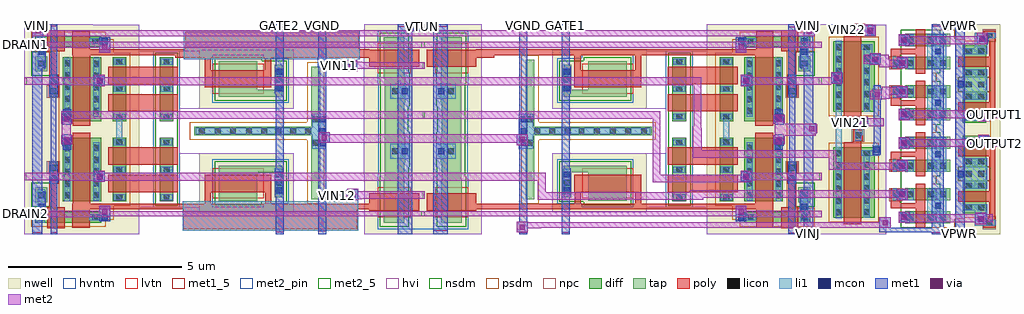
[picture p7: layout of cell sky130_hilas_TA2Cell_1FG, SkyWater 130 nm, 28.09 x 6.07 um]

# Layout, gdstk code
from math import pi, radians
import gdstk
lib = gdstk.Library(unit=1e-6, precision=1e-09)
def R(c, l, rs):  # rectangles x0, y0, x1, y1
    for r in rs: c.add(gdstk.rectangle(r[:2], r[2:], *l))
def A(c, l, x, y, w, h, nx, ny, dx, dy):  # array of equal rectangles
    R(c, l, [(x+i*dx, y+j*dy, x+i*dx+w, y+j*dy+h) for i in range(nx) for j in range(ny)])
nwell = (64, 20)
diff = (65, 20)
tap = (65, 44)
poly = (66, 20)
licon = (66, 44)
li1 = (67, 20)
mcon = (67, 44)
met1_5 = (68, 5)
met1 = (68, 20)
via = (68, 44)
met2_5 = (69, 5)
met2_pin = (69, 16)
met2 = (69, 20)
hvi = (75, 20)
nsdm = (93, 44)
psdm = (94, 20)
npc = (95, 20)
hvntm = (125, 20)
lvtn = (125, 44)

sky130_hilas_li2m2 = lib.new_cell('sky130_hilas_li2m2')
R(sky130_hilas_li2m2, li1, [(-0.13,-0.12,0.19,-0.09), (-0.13,-0.09,0.2,0.1), (-0.13,0.1,0.19,0.14)])
R(sky130_hilas_li2m2, mcon, [(-0.07,-0.08,0.1,0.09)])
R(sky130_hilas_li2m2, met1, [(-0.14,-0.15,0.18,0.17)])
R(sky130_hilas_li2m2, via, [(-0.055,-0.065,0.095,0.085)])
R(sky130_hilas_li2m2, met2, [(-0.14,-0.15,0.17,0.18)])

sky130_hilas_li2m1 = lib.new_cell('sky130_hilas_li2m1')
R(sky130_hilas_li2m1, li1, [(-0.08,-0.05,0.11,0.18)])
R(sky130_hilas_li2m1, mcon, [(-0.07,-0.02,0.1,0.15)])
R(sky130_hilas_li2m1, met1, [(-0.1,-0.08,0.13,0.21)])

sky130_hilas_nfet03 = lib.new_cell('sky130_hilas_nFET03')
R(sky130_hilas_nfet03, diff, [(-0.31,-0.06,0.58,0.29)])
R(sky130_hilas_nfet03, poly, [(0,-0.19,0.27,0.42)])
R(sky130_hilas_nfet03, licon, [(-0.245,0.03,-0.075,0.2), (0.345,0.03,0.515,0.2)])
R(sky130_hilas_nfet03, li1, [(-0.26,-0.05,-0.06,0.28), (0.33,-0.05,0.53,0.28)])
R(sky130_hilas_nfet03, nsdm, [(-0.435,-0.185,0.705,0.415)])

sky130_hilas_poly2li = lib.new_cell('sky130_hilas_poly2li')
R(sky130_hilas_poly2li, poly, [(-0.09,-0.14,0.18,0.19)])
R(sky130_hilas_poly2li, licon, [(-0.04,-0.06,0.13,0.11)])
R(sky130_hilas_poly2li, li1, [(-0.04,-0.14,0.13,0.19)])
R(sky130_hilas_poly2li, npc, [(-0.14,-0.16,0.23,0.21)])

sky130_hilas_nmirror03 = lib.new_cell('sky130_hilas_nMirror03')
R(sky130_hilas_nmirror03, tap, [(0.84,0.08,1.25,0.43), (0.84,0.74,1.25,1.09)])
R(sky130_hilas_nmirror03, poly, [(-0.46,0.43,-0.19,0.51), (-0.46,0.51,0.26,0.56), (-0.46,0.56,0.53,0.66)])
R(sky130_hilas_nmirror03, licon, [(0.96,0.17,1.13,0.34), (0.96,0.83,1.13,1)])
R(sky130_hilas_nmirror03, li1, [(0.79,0.09,1.14,0.42), (0.59,0.42,1.14,0.75), (0.59,0.75,0.78,0.76), (0.79,0.75,1.14,1.08)])
R(sky130_hilas_nmirror03, met2, [(-0.59,0.14,-0.26,0.35)])
R(sky130_hilas_nmirror03, nsdm, [(-0.175,0.555,0.84,0.615)])
R(sky130_hilas_nmirror03, psdm, [(0.715,-0.045,1.375,1.215)])
sky130_hilas_nmirror03.add(gdstk.Reference(sky130_hilas_li2m1, (0.88,0.52)))
sky130_hilas_nmirror03.add(gdstk.Reference(sky130_hilas_nfet03, (0.26,0.14)))
sky130_hilas_nmirror03.add(gdstk.Reference(sky130_hilas_li2m2, (-0.15,0.25)))
sky130_hilas_nmirror03.add(gdstk.Reference(sky130_hilas_poly2li, (-0.37,0.24)))
sky130_hilas_nmirror03.add(gdstk.Reference(sky130_hilas_li2m2, (-0.1,0.9)))
sky130_hilas_nmirror03.add(gdstk.Reference(sky130_hilas_nfet03, (0.26,0.8)))

sky130_hilas_pfetmirror0 = lib.new_cell('sky130_hilas_pFETmirror02')
R(sky130_hilas_pfetmirror0, nwell, [(-0.61,0.89,0.67,3.73)])
R(sky130_hilas_pfetmirror0, diff, [(-0.4,1.31,0.28,2.24), (-0.4,2.65,0.28,3.54)])
R(sky130_hilas_pfetmirror0, tap, [(-0.4,2.24,0.28,2.65)])
R(sky130_hilas_pfetmirror0, poly, [(0.36,1.12,0.53,1.64), (-0.53,1.64,0.53,1.94), (0.36,1.94,0.53,2.95), (-0.53,2.95,0.53,3.25)])
R(sky130_hilas_pfetmirror0, licon, [(-0.315,1.4,-0.145,1.57), (0.045,1.4,0.215,1.57), (-0.315,2.01,-0.145,2.18), (0.045,2.01,0.215,2.18), (-0.315,2.36,-0.145,2.53), (0.045,2.36,0.215,2.53), (-0.32,2.715,-0.15,2.885), (0.045,2.715,0.215,2.885), (-0.325,3.315,-0.155,3.485), (0.035,3.315,0.205,3.485)])
R(sky130_hilas_pfetmirror0, li1, [(-0.05,0.95,0.28,1.12), (-0.05,1.12,0.31,1.4), (-0.4,1.4,0.31,1.57), (-0.4,2.01,0.3,2.89), (-0.41,3.31,0.29,3.49)])
R(sky130_hilas_pfetmirror0, nsdm, [(-0.525,2.24,0.405,2.65)])
R(sky130_hilas_pfetmirror0, psdm, [(-0.525,1.185,0.405,2.24), (-0.525,2.65,0.405,3.665)])
sky130_hilas_pfetmirror0.add(gdstk.Reference(sky130_hilas_poly2li, (0.34,1.08), rotation=3*pi/2))

sky130_hilas_dualtacore0 = lib.new_cell('sky130_hilas_DualTACore01')
R(sky130_hilas_dualtacore0, met1, [(-0.41,-0.22,-0.07,5.5), (0.26,-0.21,0.53,5.49)])
R(sky130_hilas_dualtacore0, met2_pin, [(1.44,2.93,1.55,3.16)])
R(sky130_hilas_dualtacore0, met2, [(-1.37,-0.06,1.34,0.17), (-1.36,2.11,1.55,2.33), (-1.1,2.93,1.55,3.16), (-1.36,5.07,1.18,5.3)])
A(sky130_hilas_dualtacore0, nsdm, -1.305, 1.045, 1.015, 0.22, 1, 3, 0, 1.48)
R(sky130_hilas_dualtacore0, psdm, [(0.245,0.04,0.515,0.075), (0.245,0.075,0.355,1.045), (-0.29,1.045,0.355,1.265), (0.245,1.265,0.355,2.525), (-0.29,2.525,0.355,2.555), (-0.29,2.555,1.285,2.685), (-0.29,2.685,0.355,2.745), (0.245,2.745,0.355,4.005), (-0.29,4.005,0.355,4.225), (0.245,4.225,0.355,5.165), (0.245,5.165,0.545,5.215)])
sky130_hilas_dualtacore0.add(gdstk.Reference(sky130_hilas_li2m2, (1.06,2.28)))
sky130_hilas_dualtacore0.add(gdstk.Reference(sky130_hilas_nmirror03, (-1.13,1.31)))
sky130_hilas_dualtacore0.add(gdstk.Reference(sky130_hilas_nmirror03, (-1.13,1), x_reflection=True))
sky130_hilas_dualtacore0.add(gdstk.Reference(sky130_hilas_li2m1, (0.41,1.26)))
sky130_hilas_dualtacore0.add(gdstk.Reference(sky130_hilas_li2m2, (0.98,0.03)))
sky130_hilas_dualtacore0.add(gdstk.Reference(sky130_hilas_pfetmirror0, (0.88,-1.11)))
sky130_hilas_dualtacore0.add(gdstk.Reference(sky130_hilas_pfetmirror0, (0.88,6.35), x_reflection=True))
sky130_hilas_dualtacore0.add(gdstk.Reference(sky130_hilas_li2m2, (1.07,3)))
sky130_hilas_dualtacore0.add(gdstk.Reference(sky130_hilas_nmirror03, (-1.13,4.27)))
sky130_hilas_dualtacore0.add(gdstk.Reference(sky130_hilas_nmirror03, (-1.13,3.96), x_reflection=True))
sky130_hilas_dualtacore0.add(gdstk.Reference(sky130_hilas_li2m1, (0.41,3.85)))
sky130_hilas_dualtacore0.add(gdstk.Reference(sky130_hilas_li2m2, (1.02,5.22)))
sky130_hilas_dualtacore0.add(gdstk.Label('output1', (1.495,3.045), layer=69, texttype=16))

sky130_hilas_m12m2 = lib.new_cell('sky130_hilas_m12m2')
R(sky130_hilas_m12m2, met1, [(-0.06,-0.1,0.2,0.22)])
R(sky130_hilas_m12m2, via, [(-0.005,-0.015,0.145,0.135)])
R(sky130_hilas_m12m2, met2, [(-0.09,-0.07,0.23,0.19)])

sky130_hilas_ptransistor = lib.new_cell('sky130_hilas_pTransistorVert01')
R(sky130_hilas_ptransistor, nwell, [(-3.63,-4.44,-1.77,-1.45)])
R(sky130_hilas_ptransistor, diff, [(-3.29,-3.96,-2.1,-1.93)])
R(sky130_hilas_ptransistor, poly, [(-2.98,-4.11,-2.48,-1.75)])
A(sky130_hilas_ptransistor, licon, -2.41, -3.88, 0.17, 0.17, 1, 6, 0, 0.34)
A(sky130_hilas_ptransistor, licon, -3.22, -3.87, 0.17, 0.17, 1, 6, 0, 0.34)
R(sky130_hilas_ptransistor, li1, [(-3.22,-3.97,-3.04,-1.92), (-2.49,-3.88,-2.16,-3.71), (-2.41,-3.71,-2.24,-1.93)])
R(sky130_hilas_ptransistor, hvi, [(-3.63,-4.44,-1.77,-1.45)])
R(sky130_hilas_ptransistor, psdm, [(-3.415,-4.085,-1.975,-1.805)])

c_sky130_hilas_ptransistor = lib.new_cell('sky130_hilas_pTransistorPair')
R(c_sky130_hilas_ptransistor, nwell, [(2.67,-1.69,3.12,-1.46), (1.33,-1.4,3.19,-1.33)])
R(c_sky130_hilas_ptransistor, poly, [(2.27,-4.07,2.48,-4.06), (2.25,-1.04,2.48,-1)])
R(c_sky130_hilas_ptransistor, li1, [(2.49,-4.35,2.56,-4.09), (2.72,-3.66,2.8,-3.52), (2.72,-3.52,2.79,-3.5), (1.74,-1.92,1.92,-0.86), (2.35,-1.46,2.52,-1.33), (2.47,-1.33,2.52,-1.2), (2.79,-0.78,2.87,-0.7), (2.79,-0.7,3.01,-0.61)])
R(c_sky130_hilas_ptransistor, met1, [(2.83,-2.65,3.04,-0.88)])
R(c_sky130_hilas_ptransistor, met2, [(2.01,-4.38,2.89,-4.13), (2.55,-3.52,3.1,-3.27), (2.73,-2.49,3.2,-2.24), (2.25,-1.7,2.68,-1.69), (2.25,-1.69,3.12,-1.46)])
R(c_sky130_hilas_ptransistor, hvi, [(1.33,-1.4,3.19,-1.34)])
c_sky130_hilas_ptransistor.add(gdstk.Reference(sky130_hilas_m12m2, (2.87,-2.44)))
c_sky130_hilas_ptransistor.add(gdstk.Reference(sky130_hilas_li2m2, (2.9,-3.38), rotation=pi))
c_sky130_hilas_ptransistor.add(gdstk.Reference(sky130_hilas_li2m2, (2.48,-1.59)))
c_sky130_hilas_ptransistor.add(gdstk.Reference(sky130_hilas_li2m2, (2.75,-4.21), rotation=pi))
c_sky130_hilas_ptransistor.add(gdstk.Reference(sky130_hilas_li2m2, (1.75,-2.87)))
c_sky130_hilas_ptransistor.add(gdstk.Reference(sky130_hilas_ptransistor, (4.96,0.05)))
c_sky130_hilas_ptransistor.add(gdstk.Reference(sky130_hilas_poly2li, (2.36,-4.26)))
c_sky130_hilas_ptransistor.add(gdstk.Reference(sky130_hilas_poly2li, (2.34,-1.23)))
c_sky130_hilas_ptransistor.add(gdstk.Reference(sky130_hilas_li2m1, (2.91,-0.85)))
c_sky130_hilas_ptransistor.add(gdstk.Reference(sky130_hilas_ptransistor, (4.96,3.1)))

sky130_hilas_tuncap01 = lib.new_cell('sky130_hilas_TunCap01')
R(sky130_hilas_tuncap01, nwell, [(-14.51,-4,-12.78,-2.1)])
R(sky130_hilas_tuncap01, tap, [(-13.94,-3.67,-13.35,-2.47)])
R(sky130_hilas_tuncap01, poly, [(-14.36,-3.33,-12.93,-2.83)])
R(sky130_hilas_tuncap01, hvi, [(-14.51,-4,-12.78,-2.1)])
R(sky130_hilas_tuncap01, nsdm, [(-14.065,-3.795,-13.225,-2.345)])
R(sky130_hilas_tuncap01, hvntm, [(-14.125,-3.855,-13.165,-2.285)])
R(sky130_hilas_tuncap01, lvtn, [(-14.12,-3.51,-13.17,-2.65)])

sky130_hilas_fgvaractorc = lib.new_cell('sky130_hilas_FGVaractorCapacitor02')
R(sky130_hilas_fgvaractorc, nwell, [(-10.05,-3.8,-7.33,-2.15), (-10.05,-2.15,-7.34,-2.11)])
R(sky130_hilas_fgvaractorc, tap, [(-9.01,-3.47,-7.9,-2.65), (-9.72,-3.37,-9.5,-2.65), (-9.72,-2.65,-7.9,-2.46)])
R(sky130_hilas_fgvaractorc, poly, [(-9.41,-3.22,-7.49,-2.72)])
R(sky130_hilas_fgvaractorc, licon, [(-9.715,-3.04,-9.545,-2.87)])
R(sky130_hilas_fgvaractorc, li1, [(-9.75,-3.28,-9.52,-2.59)])
R(sky130_hilas_fgvaractorc, mcon, [(-9.72,-3.25,-9.55,-3.08), (-9.72,-2.8,-9.55,-2.63)])
R(sky130_hilas_fgvaractorc, met1, [(-9.77,-3.33,-9.51,-2.54)])
R(sky130_hilas_fgvaractorc, hvi, [(-10.05,-3.8,-7.33,-2.15), (-10.05,-2.15,-7.34,-2.11)])
R(sky130_hilas_fgvaractorc, nsdm, [(-9.135,-3.595,-7.775,-3.495), (-9.845,-3.495,-7.775,-2.335)])
R(sky130_hilas_fgvaractorc, hvntm, [(-9.195,-3.655,-7.715,-3.555), (-9.905,-3.555,-7.715,-2.275)])
R(sky130_hilas_fgvaractorc, lvtn, [(-9.19,-3.4,-7.72,-2.54)])

sky130_hilas_wellcontact = lib.new_cell('sky130_hilas_wellContact')
R(sky130_hilas_wellcontact, nwell, [(-14.49,-4.4,-12.75,-2.56)])
R(sky130_hilas_wellcontact, tap, [(-13.94,-4.05,-13.35,-3.31)])
R(sky130_hilas_wellcontact, licon, [(-13.735,-3.82,-13.565,-3.65)])
R(sky130_hilas_wellcontact, li1, [(-14.06,-3.95,-13.51,-3.52)])
R(sky130_hilas_wellcontact, mcon, [(-14.01,-3.82,-13.84,-3.65)])
R(sky130_hilas_wellcontact, met1, [(-14.12,-4.41,-13.73,-2.55)])
R(sky130_hilas_wellcontact, hvi, [(-14.49,-4.4,-12.75,-2.56)])
R(sky130_hilas_wellcontact, nsdm, [(-14.065,-4.175,-13.225,-3.185)])

sky130_hilas_horiztransc = lib.new_cell('sky130_hilas_horizTransCell01')
R(sky130_hilas_horiztransc, nwell, [(-3.64,0.48,-0.33,3.59)])
R(sky130_hilas_horiztransc, diff, [(-2.56,0.81,-0.66,1.12), (-4.63,1.42,-4.23,3.26), (-3.27,1.42,-2.88,3.26), (-2.56,1.42,-1.45,3.26)])
R(sky130_hilas_horiztransc, tap, [(-1,1.39,-0.66,1.83)])
R(sky130_hilas_horiztransc, poly, [(-1.5,0.65,-1,1.25), (-2.22,0.66,-1.72,1.19), (-4.76,1.19,-1.72,1.36), (-1.29,1.25,-1,1.27), (-1.29,1.27,-1.06,1.93), (-2.24,1.36,-1.73,3.39), (-4.76,1.69,-2.75,2.19), (-1.33,1.93,-1.06,2.22), (-1.33,2.22,-1.04,2.56), (-4.76,2.48,-2.75,2.98)])
A(sky130_hilas_horiztransc, licon, -3.16, 1.46, 0.17, 0.17, 1, 3, 0, 0.79)
A(sky130_hilas_horiztransc, licon, -1.66, 1.51, 0.17, 0.17, 1, 5, 0, 0.34)
A(sky130_hilas_horiztransc, licon, -2.49, 1.52, 0.17, 0.17, 1, 5, 0, 0.34)
R(sky130_hilas_horiztransc, licon, [(-2.465,0.88,-2.295,1.05), (-0.915,0.88,-0.745,1.05), (-4.515,1.46,-4.345,1.63), (-0.915,1.515,-0.745,1.685), (-4.52,2.25,-4.35,2.42), (-1.26,2.31,-1.09,2.48), (-4.515,3.04,-4.345,3.21)])
A(sky130_hilas_horiztransc, li1, -3.24, 1.46, 0.33, 0.17, 1, 3, 0, 0.79)
R(sky130_hilas_horiztransc, li1, [(-0.93,0.8,-0.73,1.15), (-2.74,0.88,-2.21,1.05), (-0.93,1.15,-0.72,1.18), (-0.94,1.18,-0.72,1.76), (-1.66,1.43,-1.49,3.04), (-2.49,1.44,-2.32,3.13), (-4.61,1.46,-4.26,1.63), (-0.93,1.76,-0.72,1.77), (-1.29,1.93,-1.1,1.94), (-1.29,1.94,-1.09,2.23), (-1.3,2.23,-1.06,2.56), (-4.61,2.25,-4.26,2.42), (-4.6,3.04,-4.26,3.21), (-1.66,3.04,-1.48,3.23)])
R(sky130_hilas_horiztransc, mcon, [(-2.735,0.88,-2.565,1.05), (-0.92,1.18,-0.75,1.35), (-1.275,2.01,-1.105,2.18), (-1.655,3.05,-1.485,3.22)])
R(sky130_hilas_horiztransc, met1, [(-1.29,0.48,-1.1,1.93), (-0.85,0.48,-0.69,1.12), (-2.81,0.85,-2.5,1.29), (-0.96,1.12,-0.69,1.67), (-0.96,1.67,-0.68,1.72), (-0.85,1.72,-0.68,1.81), (-0.85,1.81,-0.69,3.5), (-1.29,1.93,-1.07,1.96), (-1.31,1.96,-1.06,2.23), (-1.3,2.23,-1.06,2.24), (-1.3,2.24,-1.07,2.48), (-1.26,2.48,-1.1,3.5), (-1.69,2.91,-1.45,3.29)])
R(sky130_hilas_horiztransc, via, [(-2.725,1.055,-2.575,1.205)])
R(sky130_hilas_horiztransc, met2, [(-2.81,0.96,-2.5,0.97), (-2.81,0.97,-0.33,1.15), (-2.81,1.15,-2.5,1.29)])
R(sky130_hilas_horiztransc, hvi, [(-3.64,0.48,-0.33,1.235), (-4.815,1.235,-0.33,3.445), (-3.64,3.445,-0.33,3.59)])
R(sky130_hilas_horiztransc, nsdm, [(-1.125,1.265,-0.535,1.955), (-4.755,1.295,-4.105,3.385)])
R(sky130_hilas_horiztransc, psdm, [(-2.685,0.685,-0.535,0.895), (-2.91,0.895,-0.535,1.245), (-2.91,1.245,-1.325,1.295), (-3.395,1.295,-1.325,3.385)])
R(sky130_hilas_horiztransc, npc, [(-1.36,2.21,-0.99,2.58)])
R(sky130_hilas_horiztransc, hvntm, [(-4.815,1.235,-4.045,3.445)])

sky130_hilas_fgbiasweakg = lib.new_cell('sky130_hilas_FGBiasWeakGate2x1cell')
R(sky130_hilas_fgbiasweakg, nwell, [(-3.37,-2.42,-2.81,0)])
R(sky130_hilas_fgbiasweakg, tap, [(-0.95,-2.81,-0.7,-0.97), (-3.37,-2.42,-2.81,0), (-0.95,-0.97,2.67,-0.72), (-0.95,-0.72,-0.7,1.01)])
R(sky130_hilas_fgbiasweakg, poly, [(-2.02,-3.67,2.98,-3.1), (-2.8,-3.1,3.31,-2.93), (0.46,-2.93,0.63,-2.6), (2.2,-2.93,2.37,-2.6), (2.2,0.9,2.37,1.26), (0.45,0.91,0.64,1.26), (-2.37,1.26,3.21,1.34), (-2.37,1.34,3.32,1.51), (-2.06,1.51,2.93,2.01)])
R(sky130_hilas_fgbiasweakg, licon, [(-0.91,-1.27,-0.74,-1.1), (-0.7,-0.93,-0.53,-0.76), (-0.27,-0.93,-0.1,-0.76), (0.17,-0.93,0.34,-0.76), (0.57,-0.93,0.74,-0.76), (1.01,-0.93,1.18,-0.76), (1.91,-0.93,2.08,-0.76), (2.37,-0.93,2.54,-0.76), (1.47,-0.92,1.64,-0.75), (-0.91,-0.59,-0.74,-0.42)])
R(sky130_hilas_fgbiasweakg, li1, [(-2.05,-3.72,3,-2.87), (-2.05,-2.87,-1.7,-2.79), (-1.72,-2.79,-1.7,-2.54), (4.67,-2.04,4.7,-1.87), (0.11,-1.97,0.34,-1.93), (-0.92,-1.35,-0.73,-0.93), (4.67,-1.25,4.69,-1.08), (4.74,-1.08,4.91,-0.51), (-0.92,-0.93,2.63,-0.75), (-0.92,-0.75,-0.73,-0.34), (4.67,-0.51,4.72,-0.34), (4.67,0.28,4.7,0.45), (-1.69,0.89,-1.54,1.14), (-2.02,1.14,-1.54,1.22), (-2.09,1.22,2.97,2.05)])
R(sky130_hilas_fgbiasweakg, met1_5, [(-1.13,-3.82,-0.9,-3.72), (0.09,-3.82,0.32,-3.74), (6.61,-3.82,6.8,-3.76), (7.05,-3.82,7.33,-3.75), (0.09,2.15,0.32,2.23), (-3.61,2.16,-3.19,2.23), (-1.13,2.16,-0.9,2.23), (7.05,2.16,7.33,2.23), (6.61,2.17,6.8,2.22)])
R(sky130_hilas_fgbiasweakg, met1, [(-1.13,-3.82,-0.9,1.01), (0.09,-3.82,0.32,2.23), (6.61,-3.82,6.8,-3.76), (7.05,-3.82,7.33,2.23), (-3.61,-3.81,-3.19,2.23), (-1.13,1.01,-0.89,1.26), (-1.13,1.26,-0.9,2.23), (6.61,2.17,6.8,2.23)])
R(sky130_hilas_fgbiasweakg, met2_5, [(-3.96,-3.3,-3.91,-3.15), (-3.96,-2.79,-3.9,-2.58), (7.5,-2.26,7.57,-2.05), (-3.96,-0.49,-3.9,-0.27), (7.49,0.49,7.57,0.71), (-3.96,0.95,-3.91,1.13), (-3.96,1.55,-3.89,1.73)])
R(sky130_hilas_fgbiasweakg, met2, [(-3.96,-3.3,5.14,-3.2), (-3.96,-3.2,5.26,-3.15), (5.1,-3.15,5.26,-3.13), (-3.96,-2.79,-2.01,-2.58), (-3.96,-2.27,6.26,-2.26), (-3.96,-2.26,7.57,-2.05), (6.22,-0.98,6.48,-0.63), (-3.96,-0.49,6.5,-0.27), (-3.96,0.48,6.26,0.49), (-3.96,0.49,7.57,0.7), (5.54,0.7,7.57,0.71), (-3.96,0.95,-2.02,0.97), (-3.96,0.97,-1.71,1.13), (-2.17,1.13,-1.71,1.14), (-3.96,1.55,5.16,1.73)])
R(sky130_hilas_fgbiasweakg, hvi, [(2.53,-3.055,3.085,-1.53), (-3.555,-2.605,-2.625,0.185), (2.52,-1.53,3.085,-1.49), (3.085,-0.845,4.26,-0.745), (2.52,-0.2,3.085,-0.16), (2.53,-0.16,3.085,1.465)])
R(sky130_hilas_fgbiasweakg, nsdm, [(-3.495,-2.545,-2.685,-2.155), (-3.505,-2.155,-2.685,-1.865), (-3.495,-1.865,-2.685,0.125), (3.145,-0.905,3.795,-0.685)])
R(sky130_hilas_fgbiasweakg, psdm, [(-1.075,-2.935,-0.575,-1.095), (-1.075,-1.095,2.795,-0.595), (4.505,-0.905,6.575,-0.685), (-1.075,-0.595,-0.575,1.135)])
R(sky130_hilas_fgbiasweakg, hvntm, [(-3.565,-2.095,-2.625,-1.925), (-3.585,-1.925,-2.625,0.475), (3.085,-0.845,3.855,-0.745), (-3.585,0.475,-3.565,0.915)])
sky130_hilas_fgbiasweakg.add(gdstk.Reference(sky130_hilas_tuncap01, (10.56,0.19)))
sky130_hilas_fgbiasweakg.add(gdstk.Reference(sky130_hilas_tuncap01, (10.56,4.33)))
sky130_hilas_fgbiasweakg.add(gdstk.Reference(sky130_hilas_li2m2, (-1.91,-2.68)))
sky130_hilas_fgbiasweakg.add(gdstk.Reference(sky130_hilas_fgvaractorc, (9.86,0.62)))
sky130_hilas_fgbiasweakg.add(gdstk.Reference(sky130_hilas_wellcontact, (10.54,2.31)))
sky130_hilas_fgbiasweakg.add(gdstk.Reference(sky130_hilas_fgvaractorc, (9.86,-2.31), x_reflection=True))
sky130_hilas_fgbiasweakg.add(gdstk.Reference(sky130_hilas_wellcontact, (10.54,4.04)))
sky130_hilas_fgbiasweakg.add(gdstk.Reference(sky130_hilas_li2m1, (-1.03,-0.92)))
sky130_hilas_fgbiasweakg.add(gdstk.Reference(sky130_hilas_li2m2, (-1.88,1.01)))
sky130_hilas_fgbiasweakg.add(gdstk.Reference(sky130_hilas_horiztransc, (7.9,2.7), x_reflection=True))
sky130_hilas_fgbiasweakg.add(gdstk.Reference(sky130_hilas_horiztransc, (7.9,-4.29)))
sky130_hilas_fgbiasweakg.add(gdstk.Reference(sky130_hilas_m12m2, (6.27,-0.56)))
sky130_hilas_fgbiasweakg.add(gdstk.Reference(sky130_hilas_m12m2, (6.27,-1.16)))
sky130_hilas_fgbiasweakg.add(gdstk.Reference(sky130_hilas_li2m2, (5.38,-2.16)))
sky130_hilas_fgbiasweakg.add(gdstk.Reference(sky130_hilas_li2m2, (5.38,0.6)))
sky130_hilas_fgbiasweakg.add(gdstk.Label('DRAIN1', (-3.925,1.64), layer=69, texttype=5))
sky130_hilas_fgbiasweakg.add(gdstk.Label('VIN11', (-3.935,1.04), layer=69, texttype=5))
sky130_hilas_fgbiasweakg.add(gdstk.Label('ROW1', (7.53,0.6), layer=69, texttype=5))
sky130_hilas_fgbiasweakg.add(gdstk.Label('ROW2', (7.535,-2.155), layer=69, texttype=5))
sky130_hilas_fgbiasweakg.add(gdstk.Label('VINJ', (7.19,2.195), layer=68, texttype=5))
sky130_hilas_fgbiasweakg.add(gdstk.Label('VINJ', (7.19,-3.785), layer=68, texttype=5))
sky130_hilas_fgbiasweakg.add(gdstk.Label('COLSEL1', (6.705,2.195), layer=68, texttype=5))
sky130_hilas_fgbiasweakg.add(gdstk.Label('COLSEL1', (6.705,-3.79), layer=68, texttype=5))
sky130_hilas_fgbiasweakg.add(gdstk.Label('VGND', (-1.015,2.195), layer=68, texttype=5))
sky130_hilas_fgbiasweakg.add(gdstk.Label('VGND', (-1.015,-3.77), layer=68, texttype=5))
sky130_hilas_fgbiasweakg.add(gdstk.Label('GATE1', (0.205,2.19), layer=68, texttype=5))
sky130_hilas_fgbiasweakg.add(gdstk.Label('VTUN', (-3.4,2.195), layer=68, texttype=5))
sky130_hilas_fgbiasweakg.add(gdstk.Label('GATE1', (0.205,-3.78), layer=68, texttype=5))
sky130_hilas_fgbiasweakg.add(gdstk.Label('DRAIN2', (-3.935,-3.225), layer=69, texttype=5))
sky130_hilas_fgbiasweakg.add(gdstk.Label('VIN12', (-3.93,-2.685), layer=69, texttype=5))
sky130_hilas_fgbiasweakg.add(gdstk.Label('COMMONSOURCE', (-3.93,-0.38), layer=69, texttype=5))

sky130_hilas_fgbias2x1ce = lib.new_cell('sky130_hilas_FGBias2x1cell')
R(sky130_hilas_fgbias2x1ce, nwell, [(-3.37,-2.42,-2.81,0), (6.61,2.19,6.8,2.22), (4.26,2.22,7.57,2.23)])
R(sky130_hilas_fgbias2x1ce, tap, [(-0.95,-2.81,-0.7,-0.97), (-3.37,-2.42,-2.81,0), (-0.95,-0.97,2.67,-0.72), (-0.95,-0.72,-0.7,1.21)])
R(sky130_hilas_fgbias2x1ce, poly, [(-2.8,-3.1,3.31,-2.93), (0.46,-2.93,0.63,-2.6), (2.2,-2.93,2.37,-2.6), (2.2,0.9,2.37,1.34), (0.45,0.91,0.64,1.34), (-2.37,1.26,-1.85,1.34), (-2.37,1.34,3.32,1.51)])
R(sky130_hilas_fgbias2x1ce, licon, [(-0.91,-1.27,-0.74,-1.1), (-0.7,-0.93,-0.53,-0.76), (-0.27,-0.93,-0.1,-0.76), (0.17,-0.93,0.34,-0.76), (0.57,-0.93,0.74,-0.76), (1.01,-0.93,1.18,-0.76), (1.91,-0.93,2.08,-0.76), (2.37,-0.93,2.54,-0.76), (1.47,-0.92,1.64,-0.75), (-0.91,-0.59,-0.74,-0.42)])
R(sky130_hilas_fgbias2x1ce, li1, [(4.67,-2.04,4.7,-1.87), (0.11,-1.97,0.34,-1.93), (-0.92,-1.35,-0.73,-0.93), (4.67,-1.25,4.69,-1.08), (4.74,-1.08,4.91,-0.51), (-0.92,-0.93,2.63,-0.75), (-0.92,-0.75,-0.73,-0.34), (4.67,-0.51,4.72,-0.34), (4.67,0.28,4.7,0.45)])
R(sky130_hilas_fgbias2x1ce, met1_5, [(-3.61,-3.82,-3.19,-3.7), (-1.13,-3.82,-0.9,-3.76), (0.09,-3.82,0.32,-3.76), (6.61,-3.82,6.8,-3.77), (7.05,-3.82,7.33,-3.77), (0.09,2.15,0.32,2.23), (-3.61,2.16,-3.19,2.23), (-1.13,2.16,-0.9,2.23), (7.05,2.16,7.33,2.23), (6.61,2.19,6.8,2.23)])
R(sky130_hilas_fgbias2x1ce, met1, [(-3.61,-3.82,-3.19,2.23), (-1.13,-3.82,-0.9,2.23), (0.09,-3.82,0.32,2.23), (6.61,-3.82,6.8,-3.77), (7.05,-3.82,7.33,2.23), (6.61,2.19,6.8,2.23)])
R(sky130_hilas_fgbias2x1ce, met2_5, [(-3.96,-3.3,-3.9,-3.15), (7.5,-2.26,7.57,-2.05), (7.49,0.49,7.57,0.71), (-3.96,1.55,-3.89,1.73)])
R(sky130_hilas_fgbias2x1ce, met2, [(-3.96,-3.3,5.14,-3.2), (-3.96,-3.2,5.26,-3.15), (5.1,-3.15,5.26,-3.13), (5.53,-2.26,7.57,-2.05), (6.22,-0.98,7.4,-0.63), (5.54,0.49,7.57,0.71), (-3.96,1.55,5.16,1.73)])
R(sky130_hilas_fgbias2x1ce, hvi, [(2.53,-3.055,3.085,-1.53), (-3.555,-2.605,-2.625,0.185), (2.52,-1.53,3.085,-1.49), (3.085,-0.845,4.26,-0.745), (2.52,-0.2,3.085,-0.16), (2.53,-0.16,3.085,1.465), (4.26,2.22,7.57,2.23)])
R(sky130_hilas_fgbias2x1ce, nsdm, [(-3.495,-2.545,-2.685,-2.155), (-3.505,-2.155,-2.685,-1.865), (-3.495,-1.865,-2.685,0.125), (3.145,-0.905,3.795,-0.685)])
R(sky130_hilas_fgbias2x1ce, psdm, [(-1.075,-2.935,-0.575,-1.095), (-1.075,-1.095,2.795,-0.595), (4.505,-0.905,6.575,-0.685), (-1.075,-0.595,-0.575,1.335)])
R(sky130_hilas_fgbias2x1ce, hvntm, [(-3.565,-2.095,-2.625,-1.925), (-3.585,-1.925,-2.625,0.475), (3.085,-0.845,3.855,-0.745), (-3.585,0.475,-3.565,0.915)])
sky130_hilas_fgbias2x1ce.add(gdstk.Reference(sky130_hilas_tuncap01, (10.56,4.33)))
sky130_hilas_fgbias2x1ce.add(gdstk.Reference(sky130_hilas_tuncap01, (10.56,0.19)))
sky130_hilas_fgbias2x1ce.add(gdstk.Reference(sky130_hilas_li2m1, (-1.03,-0.92)))
sky130_hilas_fgbias2x1ce.add(gdstk.Reference(sky130_hilas_wellcontact, (10.54,4.04)))
sky130_hilas_fgbias2x1ce.add(gdstk.Reference(sky130_hilas_wellcontact, (10.54,2.31)))
sky130_hilas_fgbias2x1ce.add(gdstk.Reference(sky130_hilas_fgvaractorc, (9.86,0.62)))
sky130_hilas_fgbias2x1ce.add(gdstk.Reference(sky130_hilas_fgvaractorc, (9.86,-2.31), x_reflection=True))
sky130_hilas_fgbias2x1ce.add(gdstk.Reference(sky130_hilas_horiztransc, (7.9,2.7), x_reflection=True))
sky130_hilas_fgbias2x1ce.add(gdstk.Reference(sky130_hilas_horiztransc, (7.9,-4.29)))
sky130_hilas_fgbias2x1ce.add(gdstk.Reference(sky130_hilas_m12m2, (7.21,-0.84)))
sky130_hilas_fgbias2x1ce.add(gdstk.Reference(sky130_hilas_m12m2, (6.27,-0.56)))
sky130_hilas_fgbias2x1ce.add(gdstk.Reference(sky130_hilas_m12m2, (6.27,-1.16)))
sky130_hilas_fgbias2x1ce.add(gdstk.Reference(sky130_hilas_li2m2, (5.38,-2.16)))
sky130_hilas_fgbias2x1ce.add(gdstk.Reference(sky130_hilas_li2m2, (5.38,0.6)))
sky130_hilas_fgbias2x1ce.add(gdstk.Label('VTUN', (-3.4,2.195), layer=68, texttype=5))
sky130_hilas_fgbias2x1ce.add(gdstk.Label('VTUN', (-3.4,-3.76), layer=68, texttype=5))
sky130_hilas_fgbias2x1ce.add(gdstk.Label('VGND', (-1.015,2.195), layer=68, texttype=5))
sky130_hilas_fgbias2x1ce.add(gdstk.Label('VGND', (-1.015,-3.79), layer=68, texttype=5))
sky130_hilas_fgbias2x1ce.add(gdstk.Label('GATE_CONTROL', (0.205,2.19), layer=68, texttype=5))
sky130_hilas_fgbias2x1ce.add(gdstk.Label('GATE_CONTROL', (0.205,-3.79), layer=68, texttype=5))
sky130_hilas_fgbias2x1ce.add(gdstk.Label('DRAIN1', (-3.925,1.64), layer=69, texttype=5))
sky130_hilas_fgbias2x1ce.add(gdstk.Label('DRAIN4', (-3.93,-3.225), layer=69, texttype=5))
sky130_hilas_fgbias2x1ce.add(gdstk.Label('VINJ', (7.19,2.195), layer=68, texttype=5))
sky130_hilas_fgbias2x1ce.add(gdstk.Label('OUTPUT1', (7.53,0.6), layer=69, texttype=5))
sky130_hilas_fgbias2x1ce.add(gdstk.Label('OUTPUT2', (7.535,-2.155), layer=69, texttype=5))
sky130_hilas_fgbias2x1ce.add(gdstk.Label('GATECOL', (6.705,2.21), layer=68, texttype=5))
sky130_hilas_fgbias2x1ce.add(gdstk.Label('GATECOL', (6.705,-3.795), layer=68, texttype=5))
sky130_hilas_fgbias2x1ce.add(gdstk.Label('VINJ', (7.19,-3.795), layer=68, texttype=5))

sky130_hilas_ta2cell_1fg = lib.new_cell('sky130_hilas_TA2Cell_1FG')
R(sky130_hilas_ta2cell_1fg, nwell, [(0.65,1.4,1.93,1.59), (-26.16,1.9,-26.08,2.08), (-26.16,6.77,-26.09,6.95), (0.65,7.27,1.93,7.45), (-26.16,7.44,-24.18,7.45), (-3.2,7.44,-1.73,7.45)])
R(sky130_hilas_ta2cell_1fg, li1, [(-17.67,3.87,-17.47,4.88), (-11.92,3.87,-11.63,4.88)])
R(sky130_hilas_ta2cell_1fg, mcon, [(-17.65,3.94,-17.48,4.11), (-11.87,3.95,-11.7,4.12), (-17.66,4.63,-17.49,4.8), (-11.87,4.63,-11.7,4.8)])
R(sky130_hilas_ta2cell_1fg, met1_5, [(-4.16,1.4,-3.97,1.45), (-3.72,1.4,-3.44,1.45), (-0.03,1.4,0.31,1.46), (0.64,1.4,0.91,1.46), (-14.98,7.33,-14.38,7.45), (-18.91,7.36,-18.68,7.44), (-17.69,7.36,-17.46,7.44), (-11.9,7.37,-11.67,7.45), (-10.68,7.37,-10.45,7.45), (-4.16,7.37,-3.97,7.45), (-3.72,7.37,-3.44,7.45), (-25.92,7.38,-25.64,7.45), (-25.39,7.39,-25.2,7.45), (-0.03,7.39,0.31,7.45), (0.63,7.39,0.91,7.45)])
R(sky130_hilas_ta2cell_1fg, met1, [(-4.16,1.4,-3.97,1.45), (-3.72,1.4,-3.44,1.45), (-0.03,1.4,0.31,1.46), (0.64,1.4,0.91,1.61), (-11.98,1.46,-11.66,1.76), (-1.55,1.46,0.31,1.59), (-1.55,1.59,-0.03,1.6), (-1.54,1.6,-1.21,1.89), (-17.65,3.94,-17.48,4.04), (-11.87,3.95,-11.7,3.97), (-11.98,3.97,-11.66,4.29), (-17.68,4.04,-17.36,4.34), (-17.66,4.63,-17.49,4.8), (-11.87,4.63,-11.7,4.8), (-3.72,7.1,-3.4,7.4), (-25.92,7.12,-25.6,7.4), (-15.4,7.29,-13.96,7.45), (0.63,7.3,0.91,7.45), (-0.03,7.31,0.31,7.45), (-18.91,7.36,-18.68,7.44), (-17.69,7.36,-17.46,7.44), (-11.9,7.36,-11.67,7.45), (-10.68,7.37,-10.45,7.45), (-4.16,7.37,-3.97,7.45), (-25.39,7.39,-25.2,7.45), (-25.92,7.4,-25.64,7.45), (-3.72,7.4,-3.44,7.45)])
R(sky130_hilas_ta2cell_1fg, via, [(-11.895,1.535,-11.745,1.685), (-1.45,1.665,-1.3,1.815), (-11.895,4.055,-11.745,4.205), (-17.595,4.115,-17.445,4.265), (-3.635,7.175,-3.485,7.325), (-25.835,7.185,-25.685,7.335)])
R(sky130_hilas_ta2cell_1fg, met2_5, [(-26.16,1.9,-26.08,2.08), (-17.31,2.41,-16.95,2.66), (1.82,3.92,1.93,4.14), (-2.52,4.51,-2.2,4.75), (1.82,4.74,1.93,4.97), (-17.26,6.17,-16.9,6.36), (-26.16,6.77,-26.09,6.95), (-2.6,7.18,-2.29,7.42)])
R(sky130_hilas_ta2cell_1fg, met2, [(-11.98,1.46,-11.66,1.58), (-11.98,1.58,-11.29,1.59), (-11.98,1.59,-1.21,1.75), (-11.98,1.75,-11.66,1.76), (-1.54,1.75,-1.21,1.89), (-26.16,1.9,-26.08,2.08), (-11.37,2.4,-6.61,2.46), (-17.31,2.41,-16.42,2.65), (-11.37,2.46,-1.13,2.62), (-11.37,2.62,-11.15,2.95), (-7,2.62,-1.13,2.67), (-17.31,2.65,-16.83,2.66), (-8.07,2.9,-5.22,3.12), (-16.81,2.95,-11.15,3.17), (-8.07,3.12,-7.85,4.73), (-3,3.26,-1.13,3.47), (-3,3.47,-2.79,3.61), (-6.92,3.61,-2.79,3.82), (-6.92,3.82,-6.66,4.46), (1.82,3.92,1.93,4.14), (-11.98,3.97,-11.66,4.04), (-17.68,4.04,-11.66,4.29), (-17.68,4.29,-17.36,4.34), (-6.92,4.46,-6.67,4.5), (-6.89,4.5,-6.67,5.7), (-2.52,4.51,-2.2,4.75), (-16.86,4.73,-7.85,4.95), (1.82,4.74,1.93,4.97), (-1.45,5.3,-1.25,5.31), (-1.47,5.31,-1.25,5.64), (-1.47,5.64,-1.27,5.65), (-16.81,5.7,-6.67,5.92), (-3.28,5.71,-2.93,5.93), (-17.26,6.17,-16.42,6.37), (-1.54,6.21,-1.27,6.55), (-1.49,6.55,-1.27,6.57), (-26.16,6.77,-26.09,6.95), (-25.92,7.1,-3.4,7.28), (-2.6,7.18,-2.29,7.42), (-25.92,7.28,-25.6,7.4), (-3.72,7.28,-3.4,7.4)])
R(sky130_hilas_ta2cell_1fg, hvi, [(-26.16,7.44,-24.18,7.45), (-3.2,7.44,-1.73,7.45)])
R(sky130_hilas_ta2cell_1fg, hvntm, [(-15.025,1.555,-14.335,3.295), (-15.005,3.295,-14.355,6.135), (-15.025,6.135,-14.335,7.265)])
sky130_hilas_ta2cell_1fg.add(gdstk.Reference(sky130_hilas_dualtacore0, (0.38,1.81)))
sky130_hilas_ta2cell_1fg.add(gdstk.Reference(c_sky130_hilas_ptransistor, (-4.54,3.05), x_reflection=True))
sky130_hilas_ta2cell_1fg.add(gdstk.Reference(sky130_hilas_fgbiasweakg, (-18.59,5.22), rotation=pi, x_reflection=True))
sky130_hilas_ta2cell_1fg.add(gdstk.Reference(sky130_hilas_fgbias2x1ce, (-10.77,5.22)))
sky130_hilas_ta2cell_1fg.add(gdstk.Label('VIN12', (-17.13,2.535), layer=69, texttype=5))
sky130_hilas_ta2cell_1fg.add(gdstk.Label('VIN11', (-17.08,6.265), layer=69, texttype=5))
sky130_hilas_ta2cell_1fg.add(gdstk.Label('VIN21', (-2.36,4.63), layer=69, texttype=5))
sky130_hilas_ta2cell_1fg.add(gdstk.Label('VIN22', (-2.445,7.3), layer=69, texttype=5))
sky130_hilas_ta2cell_1fg.add(gdstk.Label('VPWR', (0.77,7.42), layer=68, texttype=5))
sky130_hilas_ta2cell_1fg.add(gdstk.Label('VPWR', (0.775,1.43), layer=68, texttype=5))
sky130_hilas_ta2cell_1fg.add(gdstk.Label('VGND', (0.14,7.42), layer=68, texttype=5))
sky130_hilas_ta2cell_1fg.add(gdstk.Label('VGND', (0.14,1.43), layer=68, texttype=5))
sky130_hilas_ta2cell_1fg.add(gdstk.Label('VGND', (-17.575,7.4), layer=68, texttype=5))
sky130_hilas_ta2cell_1fg.add(gdstk.Label('VGND', (-11.785,7.41), layer=68, texttype=5))
sky130_hilas_ta2cell_1fg.add(gdstk.Label('VINJ', (-3.58,7.41), layer=68, texttype=5))
sky130_hilas_ta2cell_1fg.add(gdstk.Label('VINJ', (-3.58,1.425), layer=68, texttype=5))
sky130_hilas_ta2cell_1fg.add(gdstk.Label('VINJ', (-25.78,7.415), layer=68, texttype=5))
sky130_hilas_ta2cell_1fg.add(gdstk.Label('OUTPUT1', (1.875,4.855), layer=69, texttype=5))
sky130_hilas_ta2cell_1fg.add(gdstk.Label('OUTPUT2', (1.875,4.03), layer=69, texttype=5))
sky130_hilas_ta2cell_1fg.add(gdstk.Label('DRAIN1', (-26.125,6.86), layer=69, texttype=5))
sky130_hilas_ta2cell_1fg.add(gdstk.Label('DRAIN2', (-26.12,1.99), layer=69, texttype=5))
sky130_hilas_ta2cell_1fg.add(gdstk.Label('COLSEL2', (-25.295,7.42), layer=68, texttype=5))
sky130_hilas_ta2cell_1fg.add(gdstk.Label('GATE2', (-18.795,7.4), layer=68, texttype=5))
sky130_hilas_ta2cell_1fg.add(gdstk.Label('GATE1', (-10.565,7.41), layer=68, texttype=5))
sky130_hilas_ta2cell_1fg.add(gdstk.Label('COLSEL1', (-4.065,7.41), layer=68, texttype=5))
sky130_hilas_ta2cell_1fg.add(gdstk.Label('COLSEL1', (-4.065,1.425), layer=68, texttype=5))
sky130_hilas_ta2cell_1fg.add(gdstk.Label('VTUN', (-14.68,7.39), layer=68, texttype=5))

lib.write_gds('sky130_hilas_TA2Cell_1FG.gds')
